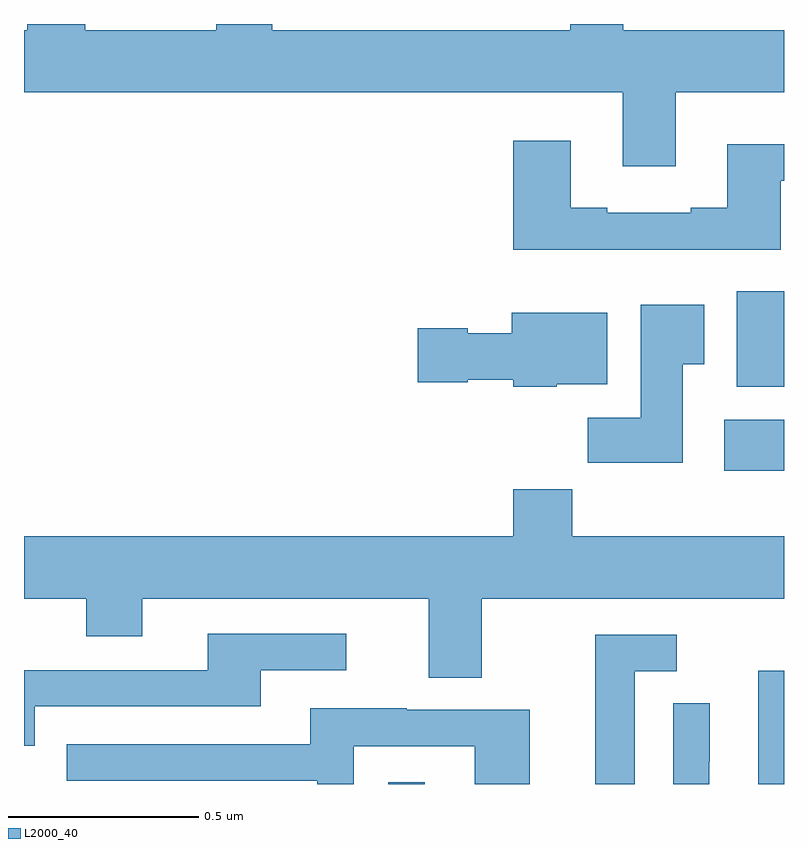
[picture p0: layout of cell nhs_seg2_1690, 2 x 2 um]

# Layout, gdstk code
import gdstk
lib = gdstk.Library(unit=1e-6, precision=1e-09)
def R(c, l, rs):  # rectangles x0, y0, x1, y1
    for r in rs: c.add(gdstk.rectangle(r[:2], r[2:], *l))
def P(c, l, *ps):  # polygons
    for p in ps: c.add(gdstk.Polygon(p, *l))
L2000_40 = (2000, 40)

nhs_seg2_1690 = lib.new_cell('nhs_seg2_1690')
R(nhs_seg2_1690, L2000_40, [(131.958,661.8,132.055,661.804), (132.932,661.8,133,662.098), (132.843,662.624,133,662.758), (132.875,662.846,133,663.097)])
P(nhs_seg2_1690, L2000_40, [(132.715,663.62),(133,663.62),(133,663.784),(132.577,663.784),(132.577,663.8),(132.437,663.8),(132.437,663.784),(131.653,663.784),(131.653,663.8),(131.506,663.8),(131.506,663.784),(131.161,663.784),(131.161,663.8),(131.009,663.8),(131.009,663.784),(131,663.784),(131,663.62),(132.575,663.62),(132.575,663.426),(132.715,663.426)],
  [(132.991,663.387),(133,663.387),(133,663.484),(132.851,663.484),(132.851,663.316),(132.755,663.316),(132.755,663.303),(132.535,663.303),(132.535,663.316),(132.439,663.316),(132.439,663.493),(132.287,663.493),(132.287,663.206),(132.991,663.206)],
  [(132.733,662.905),(132.79,662.905),(132.79,663.061),(132.623,663.061),(132.623,662.764),(132.484,662.764),(132.484,662.646),(132.733,662.646)],
  [(132.402,662.852),(132.535,662.852),(132.535,663.04),(132.284,663.04),(132.284,662.986),(132.168,662.986),(132.168,662.999),(132.036,662.999),(132.036,662.857),(132.168,662.857),(132.168,662.864),(132.288,662.864),(132.288,662.846),(132.402,662.846)],
  [(132.205,662.288),(133,662.288),(133,662.452),(132.443,662.452),(132.443,662.576),(132.287,662.576),(132.287,662.452),(131,662.452),(131,662.288),(131.164,662.288),(131.164,662.189),(131.311,662.189),(131.311,662.288),(132.065,662.288),(132.065,662.08),(132.205,662.08)],
  [(131.028,662.004),(131.623,662.004),(131.623,662.1),(131.848,662.1),(131.848,662.196),(131.483,662.196),(131.483,662.1),(131,662.1),(131,661.901),(131.028,661.901)],
  [(132.607,662.097),(132.718,662.097),(132.718,662.193),(132.503,662.193),(132.503,661.8),(132.607,661.8)],
  [(132.803,661.858),(132.804,661.858),(132.804,662.012),(132.708,662.012),(132.708,661.8),(132.803,661.8)],
  [(131.868,661.899),(132.186,661.899),(132.186,661.8),(132.331,661.8),(132.331,661.995),(132.007,661.995),(132.007,661.999),(131.753,661.999),(131.753,661.905),(131.113,661.905),(131.113,661.809),(131.772,661.809),(131.772,661.8),(131.868,661.8)])

lib.write_gds('nhs_seg2_1690.gds')
